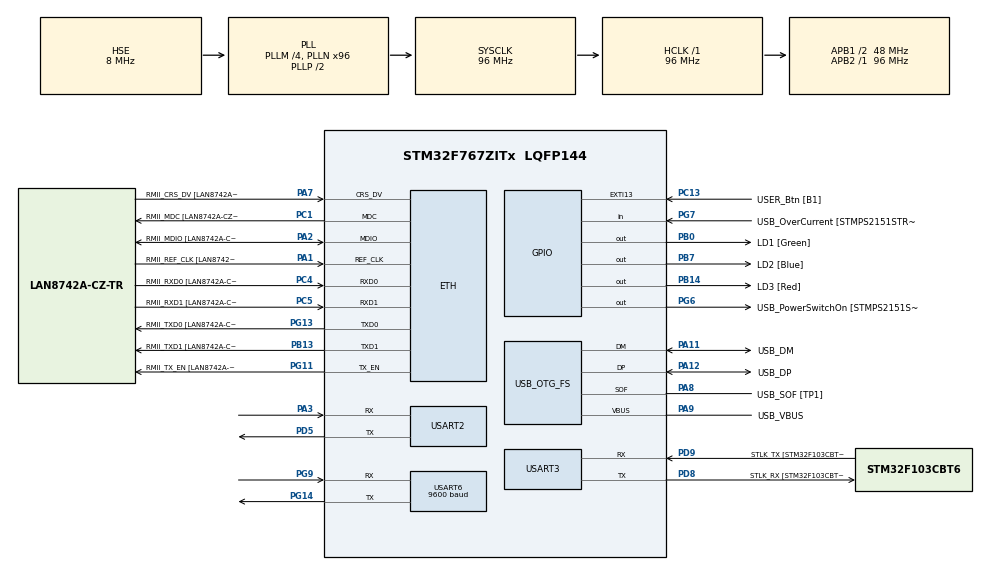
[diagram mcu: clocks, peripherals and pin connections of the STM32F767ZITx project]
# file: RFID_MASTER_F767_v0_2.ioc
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ETH.MediaInterface=HAL_ETH_RMII_MODE
ETH.PHY_Name=LAN8742A_PHY_ADDRESS
ETH.PHY_Value=0
ETH.PhyAddress=0
LWIP.BSP.number=1
LWIP.GATEWAY_ADDRESS=172.031.165.001
LWIP.IP_ADDRESS=172.031.165.100
LWIP.LWIP_DHCP=0
LWIP.NETMASK_ADDRESS=255.255.255.000
LWIP.Version=v2.1.2_Cube
LWIP0.BSP.STBoard=false
LWIP0.BSP.api=BSP_COMPONENT_DRIVER
LWIP0.BSP.component=LAN8742
LWIP0.BSP.instance=LAN8742
LWIP0.BSP.name=Driver_PHY
LWIP0.BSP.semaphore=S_LAN8742
LWIP0.BSP.solution=LAN8742
Mcu.Family=STM32F7
Mcu.Name=STM32F767ZITx
Mcu.Package=LQFP144
NVIC.PriorityGroup=NVIC_PRIORITYGROUP_4
NVIC.USART2_IRQn=true\:0\:0\:false\:false\:true\:true\:true\:true
NVIC.USART3_IRQn=true\:0\:0\:false\:false\:true\:true\:true\:true
NVIC.USART6_IRQn=true\:0\:0\:false\:false\:true\:true\:true\:true
PA1.GPIO_Label=RMII_REF_CLK [LAN8742A-CZ-TR_REFCLK0]
PA1.Mode=RMII
PA1.Signal=ETH_REF_CLK
PA10.GPIO_Label=USB_ID
PA10.Signal=USB_OTG_FS_ID
PA11.GPIO_Label=USB_DM
PA11.Mode=Device_Only
PA11.Signal=USB_OTG_FS_DM
PA12.GPIO_Label=USB_DP
PA12.Mode=Device_Only
PA12.Signal=USB_OTG_FS_DP
PA13.GPIO_Label=TMS
PA13.Mode=Serial_Wire
PA13.Signal=SYS_JTMS-SWDIO
PA14.GPIO_Label=TCK
PA14.Mode=Serial_Wire
PA14.Signal=SYS_JTCK-SWCLK
PA2.GPIO_Label=RMII_MDIO [LAN8742A-CZ-TR_MDIO]
PA2.Mode=RMII
PA2.Signal=ETH_MDIO
PA3.Mode=Asynchronous
PA3.Signal=USART2_RX
PA7.GPIO_Label=RMII_CRS_DV [LAN8742A-CZ-TR_CRS_DV]
PA7.Mode=RMII
PA7.Signal=ETH_CRS_DV
PA8.GPIO_Label=USB_SOF [TP1]
PA8.Mode=Activate_SOF_FS
PA8.Signal=USB_OTG_FS_SOF
PA9.GPIO_Label=USB_VBUS
PA9.Mode=Activate_VBUS
PA9.Signal=USB_OTG_FS_VBUS
PB0.GPIO_Label=LD1 [Green]
PB0.Signal=GPIO_Output
PB13.GPIO_Label=RMII_TXD1 [LAN8742A-CZ-TR_TXD1]
PB13.Mode=RMII
PB13.Signal=ETH_TXD1
PB14.GPIO_Label=LD3 [Red]
PB14.Signal=GPIO_Output
PB3.GPIO_Label=SWO
PB3.Signal=SYS_JTDO-SWO
PB7.GPIO_Label=LD2 [Blue]
PB7.Signal=GPIO_Output
PC1.GPIO_Label=RMII_MDC [LAN8742A-CZ-TR_MDC]
PC1.Mode=RMII
PC1.Signal=ETH_MDC
PC13.GPIO_Label=USER_Btn [B1]
PC13.Signal=GPXTI13
PC14/OSC32_IN.Mode=LSE-External-Oscillator
PC14/OSC32_IN.Signal=RCC_OSC32_IN
PC15/OSC32_OUT.Mode=LSE-External-Oscillator
PC15/OSC32_OUT.Signal=RCC_OSC32_OUT
PC4.GPIO_Label=RMII_RXD0 [LAN8742A-CZ-TR_RXD0]
PC4.Mode=RMII
PC4.Signal=ETH_RXD0
PC5.GPIO_Label=RMII_RXD1 [LAN8742A-CZ-TR_RXD1]
PC5.Mode=RMII
PC5.Signal=ETH_RXD1
PD5.Mode=Asynchronous
PD5.Signal=USART2_TX
PD8.GPIO_Label=STLK_RX [STM32F103CBT6_PA3]
PD8.Mode=Asynchronous
PD8.Signal=USART3_TX
PD9.GPIO_Label=STLK_TX [STM32F103CBT6_PA2]
PD9.Mode=Asynchronous
PD9.Signal=USART3_RX
PG11.GPIO_Label=RMII_TX_EN [LAN8742A-CZ-TR_TXEN]
PG11.Mode=RMII
PG11.Signal=ETH_TX_EN
PG13.GPIO_Label=RMII_TXD0 [LAN8742A-CZ-TR_TXD0]
PG13.Mode=RMII
PG13.Signal=ETH_TXD0
PG14.Mode=Asynchronous
PG14.Signal=USART6_TX
PG6.GPIO_Label=USB_PowerSwitchOn [STMPS2151STR_EN]
PG6.Signal=GPIO_Output
PG7.GPIO_Label=USB_OverCurrent [STMPS2151STR_FAULT]
PG7.Signal=GPIO_Input
PG9.Mode=Asynchronous
PG9.Signal=USART6_RX
PH0/OSC_IN.GPIO_Label=MCO [STM32F103CBT6_PA8]
PH0/OSC_IN.Mode=HSE-External-Clock-Source
PH0/OSC_IN.Signal=RCC_OSC_IN
PH1/OSC_OUT.Mode=HSE-External-Clock-Source
PH1/OSC_OUT.Signal=RCC_OSC_OUT
ProjectManager.HeapSize=0x200
ProjectManager.StackSize=0x400
ProjectManager.TargetToolchain=STM32CubeIDE
RCC.48MHZClocksFreq_Value=24000000
RCC.AHBFreq_Value=96000000
RCC.APB1CLKDivider=RCC_HCLK_DIV2
RCC.APB1Freq_Value=48000000
RCC.APB1TimFreq_Value=96000000
RCC.APB2Freq_Value=96000000
RCC.APB2TimFreq_Value=96000000
RCC.CortexFreq_Value=96000000
RCC.HCLKFreq_Value=96000000
RCC.HSE_VALUE=8000000
RCC.HSI_VALUE=16000000
RCC.PLLM=4
RCC.PLLMUL=RCC_PLL_MUL9
RCC.PLLN=96
RCC.PLLQ=4
RCC.PRESCALERUSB=RCC_USBCLKSOURCE_PLL_DIV1_5
RCC.SYSCLKFreq_VALUE=96000000
RCC.SYSCLKSource=RCC_SYSCLKSOURCE_PLLCLK
RCC.SYSCLKSourceVirtual=RCC_SYSCLKSOURCE_PLLCLK
RCC.USBFreq_Value=48000000
RCC.VCOOutputFreq_Value=192000000
USART2.VirtualMode-Asynchronous=VM_ASYNC
USART3.VirtualMode-Asynchronous=VM_ASYNC
USART6.BaudRate=9600
USART6.VirtualMode-Asynchronous=VM_ASYNC
USB_OTG_FS.VirtualMode=Device_Only
VP_LWIP_VS_Enabled.Mode=Enabled
board=NUCLEO-F767ZI

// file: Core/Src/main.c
/* USER CODE BEGIN Header */
/**
  ******************************************************************************
  * @file           : main.c
  * @brief          : Main program body
  ******************************************************************************
  * @attention
  *
  * <h2><center>&copy; Copyright (c) 2021 STMicroelectronics.
  * All rights reserved.</center></h2>
  *
  * This software component is licensed by ST under BSD 3-Clause license,
  * the "License"; You may not use this file except in compliance with the
  * License. You may obtain a copy of the License at:
  *                        opensource.org/licenses/BSD-3-Clause
  *
  ******************************************************************************
  */
/* USER CODE END Header */
#include "main.h"
#include "lwip.h"
#include "usart.h"
#include "usb_otg.h"
#include "gpio.h"

/* USER CODE BEGIN Includes */
#include "tcpServerRAW.h"
#include "stdio.h"
#include "string.h"
#include "stdbool.h"
#include <stdio.h>
#include "ring_buffer.h"
#include "parser_simple.h"
/* USER CODE END Includes */

/* USER CODE BEGIN PV */
uint8_t data[4];
uint8_t rec_d[17];

uint8_t rx_data[32];
uint8_t rx_data_temp;
uint8_t send_buffer[] = {"TS_00_00\n"};
uint8_t ReceviedLines; // Complete lines counter
uint8_t ReceivedData[32]; // A buffer for parsing
uint8_t read_data[25]; // A buffer for parsing

uint8_t ST_RFID_00[25]={"NULL"};
uint8_t ST_RFID_01[25] ={"NULL"};
uint8_t ST_RFID_02[25]={"NULL"};
uint8_t ST_RFID_03[25]={"NULL"};
uint8_t ST_RFID_04[25]={"NULL"};
uint8_t ST_RFID_05[25]={"NULL"};
uint8_t ST_RFID_06[25]={"NULL"};
uint8_t ST_RFID_07[25]={"NULL"};
uint8_t ST_RFID_08[25]={"NULL"};
uint8_t ST_RFID_09[25]={"NULL"};
uint8_t ST_RFID_10[25]={"NULL"};
uint8_t ST_RFID_11[25]={"NULL"};
uint8_t ST_RFID_12[25]={"NULL"};
uint8_t ST_RFID_13[25]={"NULL"};
uint8_t ST_RFID_14[25]={"NULL"};
uint8_t ST_RFID_15[25]={"NULL"};
/* USER CODE END PV */

void SystemClock_Config(void);
/* USER CODE BEGIN PFP */
void RS_Transmit(char* Message);
void HAL_UART_RxCpltCallback(UART_HandleTypeDef *huart);
void UART_Log(char* Message1);
/* USER CODE END PFP */

/* USER CODE BEGIN 0 */

extern struct netif gnetif;

/* USER CODE END 0 */

int main(void)
{

  /* USER CODE BEGIN 1 */
	  /* Enable I-Cache---------------------------------------------------------*/
//	  SCB_EnableICache();

	  /* Enable D-Cache---------------------------------------------------------*/
//	  SCB_EnableDCache();
  /* USER CODE END 1 */

  /* MCU Configuration--------------------------------------------------------*/

  /* Reset of all peripherals, Initializes the Flash interface and the Systick. */
  HAL_Init();

  /* Configure the system clock */
  SystemClock_Config();

  /* Initialize all configured peripherals */
  MX_GPIO_Init();
  MX_USART3_UART_Init();
  MX_USB_OTG_FS_PCD_Init();
  MX_USART2_UART_Init();
  MX_USART6_UART_Init();
  MX_LWIP_Init();
  /* USER CODE BEGIN 2 */
  for(size_t i = 0; i < sizeof read_data; ++i)	//clearread data
  	  read_data[i] = 0;

  tcp_server_init();
  UART_Log("INIT OK...\n\r");
  /* USER CODE END 2 */

  /* Infinite loop */
  while (1)
  {

    /* USER CODE BEGIN 3 */

	  ethernetif_input(&gnetif);
	  sys_check_timeouts();

		 send_buffer[3] = '0';	//adres 00
		 send_buffer[4] = '0';

		 send_buffer[6] = '0';	//commend 00
		 send_buffer[7] = '0';

		 HAL_UART_Receive_IT(&huart6, read_data, 25); //read
		 RS_Transmit(send_buffer);	//send commend

		 HAL_Delay(100);
		 memcpy(ST_RFID_00, read_data, 25);
		 UART_Log(ST_RFID_00);
		 UART_Log("\n");

		 for(size_t i = 0; i < sizeof read_data; ++i)	//clearread data
		  read_data[i] = 0;

		 ethernetif_input(&gnetif);
		 	  sys_check_timeouts();
	/*-------------------------------------------------------------------------------*/

		 send_buffer[3] = '0';	//adres 01
		 send_buffer[4] = '1';

		 send_buffer[6] = '0';	//commend 00
		 send_buffer[7] = '0';

		 HAL_UART_Receive_IT(&huart6, read_data, 25); //read
		 RS_Transmit(send_buffer);	//send commend

		 HAL_Delay(100);
		 memcpy(ST_RFID_01, read_data, 25);
		 UART_Log(ST_RFID_01);

		 for(size_t i = 0; i < sizeof read_data; ++i)	//clearread data
		  read_data[i] = 0;

		 ethernetif_input(&gnetif);
		 	  sys_check_timeouts();
	/*-------------------------------------------------------------------------------*/
		 send_buffer[3] = '0';	//adres 02
		 send_buffer[4] = '2';

		 send_buffer[6] = '0';	//commend 00
		 send_buffer[7] = '0';

		 HAL_UART_Receive_IT(&huart6, read_data, 25); //read
		 RS_Transmit(send_buffer);	//send commend

		 HAL_Delay(100);
		 memcpy(ST_RFID_02, read_data, 25);
		 UART_Log(ST_RFID_02);

		 for(size_t i = 0; i < sizeof read_data; ++i)	//clearread data
		  read_data[i] = 0;
	/*-------------------------------------------------------------------------------*/
		 send_buffer[3] = '0';	//adres 03
		 send_buffer[4] = '3';

		 send_buffer[6] = '0';	//commend 00
		 send_buffer[7] = '0';

		 HAL_UART_Receive_IT(&huart6, read_data, 25); //read
		 RS_Transmit(send_buffer);	//send commend

		 HAL_Delay(100);
		 memcpy(ST_RFID_03, read_data, 25);
		 UART_Log(ST_RFID_03);

		 for(size_t i = 0; i < sizeof read_data; ++i)	//clearread data
		  read_data[i] = 0;

		 ethernetif_input(&gnetif);
		 	  sys_check_timeouts();
	/*-------------------------------------------------------------------------------*/
		 send_buffer[3] = '0';	//adres 04
		 send_buffer[4] = '4';

		 send_buffer[6] = '0';	//commend 00
		 send_buffer[7] = '0';

		 HAL_UART_Receive_IT(&huart6, read_data, 25); //read
		 RS_Transmit(send_buffer);	//send commend

		 HAL_Delay(100);
		 memcpy(ST_RFID_04, read_data, 25);
		 UART_Log(ST_RFID_04);

		 for(size_t i = 0; i < sizeof read_data; ++i)	//clearread data
		  read_data[i] = 0;

		 ethernetif_input(&gnetif);
		 	  sys_check_timeouts();
	/*-------------------------------------------------------------------------------*/
		 send_buffer[3] = '0';	//adres 05
		 send_buffer[4] = '5';

		 send_buffer[6] = '0';	//commend 00
		 send_buffer[7] = '0';

		 HAL_UART_Receive_IT(&huart6, read_data, 25); //read
		 RS_Transmit(send_buffer);	//send commend

		 HAL_Delay(100);
		 memcpy(ST_RFID_05, read_data, 25);
		 UART_Log(ST_RFID_05);

		 for(size_t i = 0; i < sizeof read_data; ++i)	//clearread data
		  read_data[i] = 0;

		 ethernetif_input(&gnetif);
		 	  sys_check_timeouts();
	/*-------------------------------------------------------------------------------*/
		 send_buffer[3] = '0';	//adres 06
		 send_buffer[4] = '6';

		 send_buffer[6] = '0';	//commend 00
		 send_buffer[7] = '0';

		 HAL_UART_Receive_IT(&huart6, read_data, 25); //read
		 RS_Transmit(send_buffer);	//send commend

		 HAL_Delay(100);
		 memcpy(ST_RFID_06, read_data, 25);
		 UART_Log(ST_RFID_06);

		 for(size_t i = 0; i < sizeof read_data; ++i)	//clearread data
		  read_data[i] = 0;
	/*-------------------------------------------------------------------------------*/
		 send_buffer[3] = '0';	//adres 07
		 send_buffer[4] = '7';

		 send_buffer[6] = '0';	//commend 00
		 send_buffer[7] = '0';

		 HAL_UART_Receive_IT(&huart6, read_data, 25); //read
		 RS_Transmit(send_buffer);	//send commend

		 HAL_Delay(100);
		 memcpy(ST_RFID_07, read_data, 25);
		 UART_Log(ST_RFID_07);

		 for(size_t i = 0; i < sizeof read_data; ++i)	//clearread data
		  read_data[i] = 0;

		 ethernetif_input(&gnetif);
		 sys_check_timeouts();
	/*-------------------------------------------------------------------------------*/
		 send_buffer[3] = '0';	//adres 08
		 send_buffer[4] = '8';

		 send_buffer[6] = '0';	//commend 00
		 send_buffer[7] = '0';

		 HAL_UART_Receive_IT(&huart6, read_data, 25); //read
		 RS_Transmit(send_buffer);	//send commend

		 HAL_Delay(100);
		 memcpy(ST_RFID_08, read_data, 25);
		 UART_Log(ST_RFID_08);

		 for(size_t i = 0; i < sizeof read_data; ++i)	//clearread data
		  read_data[i] = 0;

		 ethernetif_input(&gnetif);
		 sys_check_timeouts();
	/*-------------------------------------------------------------------------------*/
		 send_buffer[3] = '0';	//adres 09
		 send_buffer[4] = '9';

		 send_buffer[6] = '0';	//commend 00
		 send_buffer[7] = '0';

		 HAL_UART_Receive_IT(&huart6, read_data, 25); //read
		 RS_Transmit(send_buffer);	//send commend

		 HAL_Delay(100);
		 memcpy(ST_RFID_09, read_data, 25);
		 UART_Log(ST_RFID_09);

		 for(size_t i = 0; i < sizeof read_data; ++i)	//clearread data
		  read_data[i] = 0;

		 ethernetif_input(&gnetif);
		 sys_check_timeouts();
	/*-------------------------------------------------------------------------------*/
		 send_buffer[3] = '1';	//adres 10
		 send_buffer[4] = '0';

		 send_buffer[6] = '0';	//commend 00
		 send_buffer[7] = '0';

		 HAL_UART_Receive_IT(&huart6, read_data, 25); //read
		 RS_Transmit(send_buffer);	//send commend

		 HAL_Delay(100);
		 memcpy(ST_RFID_10, read_data, 25);
		 UART_Log(ST_RFID_10);

		 for(size_t i = 0; i < sizeof read_data; ++i)	//clearread data
		  read_data[i] = 0;

		 ethernetif_input(&gnetif);
		 sys_check_timeouts();
	/*-------------------------------------------------------------------------------*/
		 send_buffer[3] = '1';	//adres 11
		 send_buffer[4] = '1';

		 send_buffer[6] = '0';	//commend 00
		 send_buffer[7] = '0';

		 HAL_UART_Receive_IT(&huart6, read_data, 25); //read
		 RS_Transmit(send_buffer);	//send commend

		 HAL_Delay(100);
		 memcpy(ST_RFID_11, read_data, 25);
		 UART_Log(ST_RFID_11);

		 for(size_t i = 0; i < sizeof read_data; ++i)	//clearread data
		  read_data[i] = 0;

		 ethernetif_input(&gnetif);
		 sys_check_timeouts();
	/*-------------------------------------------------------------------------------*/
		 send_buffer[3] = '1';	//adres 12
		 send_buffer[4] = '2';

		 send_buffer[6] = '0';	//commend 00
		 send_buffer[7] = '0';

		 HAL_UART_Receive_IT(&huart6, read_data, 25); //read
		 RS_Transmit(send_buffer);	//send commend

		 HAL_Delay(100);
		 memcpy(ST_RFID_12, read_data, 25);
		 UART_Log(ST_RFID_12);

		 for(size_t i = 0; i < sizeof read_data; ++i)	//clearread data
		  read_data[i] = 0;

		 ethernetif_input(&gnetif);
		 sys_check_timeouts();
	/*-------------------------------------------------------------------------------*/
		 send_buffer[3] = '1';	//adres 13
		 send_buffer[4] = '3';

		 send_buffer[6] = '0';	//commend 00
		 send_buffer[7] = '0';

		 HAL_UART_Receive_IT(&huart6, read_data, 25); //read
		 RS_Transmit(send_buffer);	//send commend

		 HAL_Delay(100);
		 memcpy(ST_RFID_13, read_data, 25);
		 UART_Log(ST_RFID_13);

		 for(size_t i = 0; i < sizeof read_data; ++i)	//clearread data
		  read_data[i] = 0;

		 ethernetif_input(&gnetif);
		 sys_check_timeouts();
	/*-------------------------------------------------------------------------------*/
		 send_buffer[3] = '1';	//adres 14
		 send_buffer[4] = '4';

		 send_buffer[6] = '0';	//commend 00
		 send_buffer[7] = '0';

		 HAL_UART_Receive_IT(&huart6, read_data, 25); //read
		 RS_Transmit(send_buffer);	//send commend

		 HAL_Delay(100);
		 memcpy(ST_RFID_14, read_data, 25);
		 UART_Log(ST_RFID_14);

		 for(size_t i = 0; i < sizeof read_data; ++i)	//clearread data
		  read_data[i] = 0;

		 ethernetif_input(&gnetif);
		 sys_check_timeouts();
	/*-------------------------------------------------------------------------------*/
		 send_buffer[3] = '1';	//adres 15
		 send_buffer[4] = '5';

		 send_buffer[6] = '0';	//commend 00
		 send_buffer[7] = '0';

		 HAL_UART_Receive_IT(&huart6, read_data, 25); //read
		 RS_Transmit(send_buffer);	//send commend

		 HAL_Delay(100);
		 memcpy(ST_RFID_15, read_data, 25);
		 UART_Log(ST_RFID_15);

		 for(size_t i = 0; i < sizeof read_data; ++i)	//clearread data
		  read_data[i] = 0;

		 ethernetif_input(&gnetif);
		 	  sys_check_timeouts();
	/*-------------------------------------------------------------------------------*/
		 HAL_Delay(100);
  }
  /* USER CODE END 3 */
}

void SystemClock_Config(void)
{
  RCC_OscInitTypeDef RCC_OscInitStruct = {0};
  RCC_ClkInitTypeDef RCC_ClkInitStruct = {0};

  /** Configure LSE Drive Capability
  */
  HAL_PWR_EnableBkUpAccess();

  /** Configure the main internal regulator output voltage
  */
  __HAL_RCC_PWR_CLK_ENABLE();
  __HAL_PWR_VOLTAGESCALING_CONFIG(PWR_REGULATOR_VOLTAGE_SCALE3);

  /** Initializes the RCC Oscillators according to the specified parameters
  * in the RCC_OscInitTypeDef structure.
  */
  RCC_OscInitStruct.OscillatorType = RCC_OSCILLATORTYPE_HSE;
  RCC_OscInitStruct.HSEState = RCC_HSE_BYPASS;
  RCC_OscInitStruct.PLL.PLLState = RCC_PLL_ON;
  RCC_OscInitStruct.PLL.PLLSource = RCC_PLLSOURCE_HSE;
  RCC_OscInitStruct.PLL.PLLM = 4;
  RCC_OscInitStruct.PLL.PLLN = 96;
  RCC_OscInitStruct.PLL.PLLP = RCC_PLLP_DIV2;
  RCC_OscInitStruct.PLL.PLLQ = 4;
  RCC_OscInitStruct.PLL.PLLR = 2;
  if (HAL_RCC_OscConfig(&RCC_OscInitStruct) != HAL_OK)
  {
    Error_Handler();
  }

  /** Activate the Over-Drive mode
  */
  if (HAL_PWREx_EnableOverDrive() != HAL_OK)
  {
    Error_Handler();
  }

  /** Initializes the CPU, AHB and APB buses clocks
  */
  RCC_ClkInitStruct.ClockType = RCC_CLOCKTYPE_HCLK|RCC_CLOCKTYPE_SYSCLK
                              |RCC_CLOCKTYPE_PCLK1|RCC_CLOCKTYPE_PCLK2;
  RCC_ClkInitStruct.SYSCLKSource = RCC_SYSCLKSOURCE_PLLCLK;
  RCC_ClkInitStruct.AHBCLKDivider = RCC_SYSCLK_DIV1;
  RCC_ClkInitStruct.APB1CLKDivider = RCC_HCLK_DIV2;
  RCC_ClkInitStruct.APB2CLKDivider = RCC_HCLK_DIV1;

  if (HAL_RCC_ClockConfig(&RCC_ClkInitStruct, FLASH_LATENCY_3) != HAL_OK)
  {
    Error_Handler();
  }
}

/* USER CODE BEGIN 4 */
//void DATA_Transmit(uint8_t command, uint8_t data_rec)
//{
//	 HAL_UART_Receive_IT(&huart6, read_data, 25); //read
//	 RS_Transmit(command);	//send commend
//
//	 HAL_Delay(100);
//	 memcpy(data_rec, read_data, 25);
//	 //UART_Log(ST_RFID_07);
//
//	 for(size_t i = 0; i < sizeof read_data; ++i)	//clearread data
//	  read_data[i] = 0;
//}

void UART_Log(char* Message1)
{
	HAL_UART_Transmit(&huart3, (uint8_t*)Message1, strlen(Message1), 1000);
}

void RS_Transmit(char* Message)
{
HAL_UART_Transmit_IT(&huart6, (uint8_t*)Message, strlen(Message));
}

void HAL_UART_RxCpltCallback(UART_HandleTypeDef *huart)
{

}

/* USER CODE END 4 */

void Error_Handler(void)
{
  __disable_irq();
  while (1)
  {
  }
}
